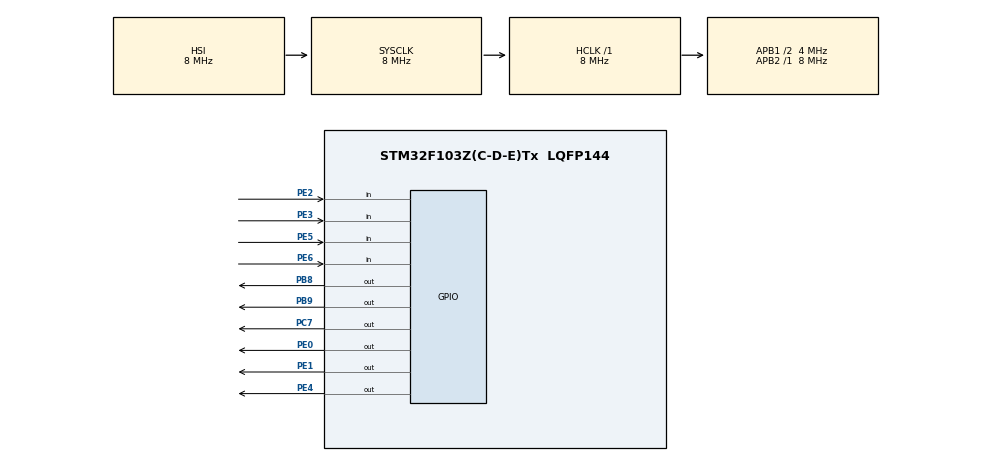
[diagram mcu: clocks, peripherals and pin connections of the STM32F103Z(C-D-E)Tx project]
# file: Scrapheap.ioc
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Mcu.Family=STM32F1
RCC.PLLSourceVirtual=RCC_PLLSOURCE_HSE
RCC.APB1CLKDivider=RCC_HCLK_DIV2
ProjectManager.StackSize=0x400
PA13.Signal=SYS_JTMS-SWDIO
TIM1.Prescaler=800
PE5.GPIO_PuPd=GPIO_PULLUP
ProjectManager.TargetToolchain=STM32CubeIDE
RCC.HCLKFreq_Value=8000000
RCC.APB2TimFreq_Value=8000000
PC7.Signal=GPIO_Output
OSC_IN.Signal=RCC_OSC_IN
PE5.Signal=GPIO_Input
RCC.USBFreq_Value=72000000
OSC_OUT.Mode=HSE-External-Oscillator
PE1.Signal=GPIO_Output
OSC_OUT.Signal=RCC_OSC_OUT
RCC.AHBFreq_Value=8000000
PE2.GPIO_PuPd=GPIO_PULLUP
RCC.HSE_VALUE=16000000
board=custom
RCC.PLLMUL=RCC_PLL_MUL9
RCC.APB2Freq_Value=8000000
PA14.Mode=Serial_Wire
PE3.GPIO_PuPd=GPIO_PULLUP
PE2.Signal=GPIO_Input
PE6.Signal=GPIO_Input
PA13.Mode=Serial_Wire
PE4.Signal=GPIO_Output
Mcu.Name=STM32F103Z(C-D-E)Tx
PE0.Signal=GPIO_Output
VP_TIM1_VS_ClockSourceINT.Mode=Internal
PE4.GPIO_PuPd=GPIO_PULLDOWN
RCC.SYSCLKFreq_VALUE=8000000
Mcu.Package=LQFP144
PB9.Signal=GPIO_Output
OSC_IN.Mode=HSE-External-Oscillator
RCC.HSEDivPLL=RCC_HSE_PREDIV_DIV2
PA14.Signal=SYS_JTCK-SWCLK
ProjectManager.HeapSize=0x200
NVIC.PriorityGroup=NVIC_PRIORITYGROUP_4
RCC.APB1TimFreq_Value=8000000
PB8.Signal=GPIO_Output
PE3.Signal=GPIO_Input
RCC.APB1Freq_Value=4000000
PE6.GPIO_PuPd=GPIO_PULLUP

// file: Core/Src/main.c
/* USER CODE BEGIN Header */
/**
 ******************************************************************************
 * @file           : main.c
 * @brief          : Main program body
 ******************************************************************************
 * @attention
 *
 * <h2><center>&copy; Copyright (c) 2022 STMicroelectronics.
 * All rights reserved.</center></h2>
 *
 * This software component is licensed by ST under BSD 3-Clause license,
 * the "License"; You may not use this file except in compliance with the
 * License. You may obtain a copy of the License at:
 *                        opensource.org/licenses/BSD-3-Clause
 *
 ******************************************************************************
 */
/* USER CODE END Header */
#include "main.h"

TIM_HandleTypeDef htim1;

void SystemClock_Config(void);
static void MX_GPIO_Init(void);
static void MX_TIM1_Init(void);

/* USER CODE BEGIN 0 */

// inputs
const int PIN_HALL = GPIO_PIN_2;
const int PIN_FIRE = GPIO_PIN_3;
const int PIN_INC = GPIO_PIN_5;
const int PIN_DEC = GPIO_PIN_6;

// outputs
const int PIN_RELAIS = GPIO_PIN_4;
const int PIN_LED = GPIO_PIN_7;

/* USER CODE END 0 */

int main(void)
{

  /* MCU Configuration--------------------------------------------------------*/

  /* Reset of all peripherals, Initializes the Flash interface and the Systick. */
  HAL_Init();

  /* Configure the system clock */
  SystemClock_Config();

  /* Initialize all configured peripherals */
  MX_GPIO_Init();
  MX_TIM1_Init();

  /* Infinite loop */
  /* USER CODE BEGIN WHILE */
    int prev_hall = -1;
    int prev_inc = 0;
    int prev_dec = 0;

    int fire_t0 = -1;
    int fired_t0 = -1;

    // Delays are in ms
    // Delay increased / decreased with this much on button press
    int delay_delta = 10;
    // Initial delay between HALL signal and releasing projectile
    int delay = 100;
    // Delay between disabling and re-enabling relay for electro magnet
    int reset_delay = 50;

    //HAL_TIM_Base_Start(&htim1);
    //__HAL_TIM_SET_COUNTER(&htim1, 0);
    //__HAL_TIM_GET_COUNTER(&htim1);

    HAL_GPIO_WritePin(GPIOE, PIN_RELAIS, GPIO_PIN_SET);

    while (1) {
    /* USER CODE END WHILE */

    /* USER CODE BEGIN 3 */

        int hall = HAL_GPIO_ReadPin(GPIOE, PIN_HALL);
        int fire = HAL_GPIO_ReadPin(GPIOE, PIN_FIRE);

        if (fire == 0) {
            // Fire button pressed

            if (hall == 0 && prev_hall == 1) {
                // Start delay timer for releasing projectile
                fire_t0 = HAL_GetTick();

                HAL_GPIO_WritePin(GPIOC, PIN_LED, GPIO_PIN_SET);
            }
        }
        prev_hall = hall;

        if (fire_t0 >= 0 && (HAL_GetTick() - fire_t0 >= delay)) {
            // delay has passed, fire!

            HAL_GPIO_WritePin(GPIOE, PIN_RELAIS, GPIO_PIN_RESET);

            // Start delay timer for re-enabling relais
            fire_t0 = -1;
            fired_t0 = HAL_GetTick();

            HAL_GPIO_WritePin(GPIOC, PIN_LED, GPIO_PIN_RESET);
        }

        if (fired_t0 >= 0 && (HAL_GetTick() - fired_t0 >= reset_delay)) {
            HAL_GPIO_WritePin(GPIOE, PIN_RELAIS, GPIO_PIN_SET);
            fired_t0 = -1;
        }

        // Check increase pin, only activate when released first
        int inc = HAL_GPIO_ReadPin(GPIOE, PIN_INC);
        if (inc == 0 && prev_inc == 1) {
            delay += delay_delta;
        }
        prev_inc = inc;

        // Dec button check
        int dec = HAL_GPIO_ReadPin(GPIOE, PIN_DEC);
        if (dec == 0 && prev_dec == 1) {
            delay -= delay_delta;
        }
        prev_dec = dec;

    }
  /* USER CODE END 3 */
}

void SystemClock_Config(void)
{
  RCC_OscInitTypeDef RCC_OscInitStruct = {0};
  RCC_ClkInitTypeDef RCC_ClkInitStruct = {0};

  /** Initializes the RCC Oscillators according to the specified parameters
  * in the RCC_OscInitTypeDef structure.
  */
  RCC_OscInitStruct.OscillatorType = RCC_OSCILLATORTYPE_HSI;
  RCC_OscInitStruct.HSIState = RCC_HSI_ON;
  RCC_OscInitStruct.HSICalibrationValue = RCC_HSICALIBRATION_DEFAULT;
  RCC_OscInitStruct.PLL.PLLState = RCC_PLL_NONE;
  if (HAL_RCC_OscConfig(&RCC_OscInitStruct) != HAL_OK)
  {
    Error_Handler();
  }
  /** Initializes the CPU, AHB and APB buses clocks
  */
  RCC_ClkInitStruct.ClockType = RCC_CLOCKTYPE_HCLK|RCC_CLOCKTYPE_SYSCLK
                              |RCC_CLOCKTYPE_PCLK1|RCC_CLOCKTYPE_PCLK2;
  RCC_ClkInitStruct.SYSCLKSource = RCC_SYSCLKSOURCE_HSI;
  RCC_ClkInitStruct.AHBCLKDivider = RCC_SYSCLK_DIV1;
  RCC_ClkInitStruct.APB1CLKDivider = RCC_HCLK_DIV2;
  RCC_ClkInitStruct.APB2CLKDivider = RCC_HCLK_DIV1;

  if (HAL_RCC_ClockConfig(&RCC_ClkInitStruct, FLASH_LATENCY_0) != HAL_OK)
  {
    Error_Handler();
  }
}

static void MX_TIM1_Init(void)
{

  TIM_ClockConfigTypeDef sClockSourceConfig = {0};
  TIM_MasterConfigTypeDef sMasterConfig = {0};

  htim1.Instance = TIM1;
  htim1.Init.Prescaler = 800;
  htim1.Init.CounterMode = TIM_COUNTERMODE_UP;
  htim1.Init.Period = 65535;
  htim1.Init.ClockDivision = TIM_CLOCKDIVISION_DIV1;
  htim1.Init.RepetitionCounter = 0;
  htim1.Init.AutoReloadPreload = TIM_AUTORELOAD_PRELOAD_DISABLE;
  if (HAL_TIM_Base_Init(&htim1) != HAL_OK)
  {
    Error_Handler();
  }
  sClockSourceConfig.ClockSource = TIM_CLOCKSOURCE_INTERNAL;
  if (HAL_TIM_ConfigClockSource(&htim1, &sClockSourceConfig) != HAL_OK)
  {
    Error_Handler();
  }
  sMasterConfig.MasterOutputTrigger = TIM_TRGO_RESET;
  sMasterConfig.MasterSlaveMode = TIM_MASTERSLAVEMODE_DISABLE;
  if (HAL_TIMEx_MasterConfigSynchronization(&htim1, &sMasterConfig) != HAL_OK)
  {
    Error_Handler();
  }

}

static void MX_GPIO_Init(void)
{
  GPIO_InitTypeDef GPIO_InitStruct = {0};

  /* GPIO Ports Clock Enable */
  __HAL_RCC_GPIOE_CLK_ENABLE();
  __HAL_RCC_GPIOC_CLK_ENABLE();
  __HAL_RCC_GPIOA_CLK_ENABLE();
  __HAL_RCC_GPIOB_CLK_ENABLE();

  /*Configure GPIO pin Output Level */
  HAL_GPIO_WritePin(GPIOE, GPIO_PIN_4|GPIO_PIN_0|GPIO_PIN_1, GPIO_PIN_RESET);

  /*Configure GPIO pin Output Level */
  HAL_GPIO_WritePin(GPIOC, GPIO_PIN_7, GPIO_PIN_RESET);

  /*Configure GPIO pin Output Level */
  HAL_GPIO_WritePin(GPIOB, GPIO_PIN_8|GPIO_PIN_9, GPIO_PIN_RESET);

  /*Configure GPIO pins : PE2 PE3 PE5 PE6 */
  GPIO_InitStruct.Pin = GPIO_PIN_2|GPIO_PIN_3|GPIO_PIN_5|GPIO_PIN_6;
  GPIO_InitStruct.Mode = GPIO_MODE_INPUT;
  GPIO_InitStruct.Pull = GPIO_PULLUP;
  HAL_GPIO_Init(GPIOE, &GPIO_InitStruct);

  /*Configure GPIO pin : PE4 */
  GPIO_InitStruct.Pin = GPIO_PIN_4;
  GPIO_InitStruct.Mode = GPIO_MODE_OUTPUT_PP;
  GPIO_InitStruct.Pull = GPIO_PULLDOWN;
  GPIO_InitStruct.Speed = GPIO_SPEED_FREQ_LOW;
  HAL_GPIO_Init(GPIOE, &GPIO_InitStruct);

  /*Configure GPIO pin : PC7 */
  GPIO_InitStruct.Pin = GPIO_PIN_7;
  GPIO_InitStruct.Mode = GPIO_MODE_OUTPUT_PP;
  GPIO_InitStruct.Pull = GPIO_NOPULL;
  GPIO_InitStruct.Speed = GPIO_SPEED_FREQ_LOW;
  HAL_GPIO_Init(GPIOC, &GPIO_InitStruct);

  /*Configure GPIO pins : PB8 PB9 */
  GPIO_InitStruct.Pin = GPIO_PIN_8|GPIO_PIN_9;
  GPIO_InitStruct.Mode = GPIO_MODE_OUTPUT_PP;
  GPIO_InitStruct.Pull = GPIO_NOPULL;
  GPIO_InitStruct.Speed = GPIO_SPEED_FREQ_LOW;
  HAL_GPIO_Init(GPIOB, &GPIO_InitStruct);

  /*Configure GPIO pins : PE0 PE1 */
  GPIO_InitStruct.Pin = GPIO_PIN_0|GPIO_PIN_1;
  GPIO_InitStruct.Mode = GPIO_MODE_OUTPUT_PP;
  GPIO_InitStruct.Pull = GPIO_NOPULL;
  GPIO_InitStruct.Speed = GPIO_SPEED_FREQ_LOW;
  HAL_GPIO_Init(GPIOE, &GPIO_InitStruct);

}

void Error_Handler(void)
{
}

/************************ (C) COPYRIGHT STMicroelectronics *****END OF FILE****/
